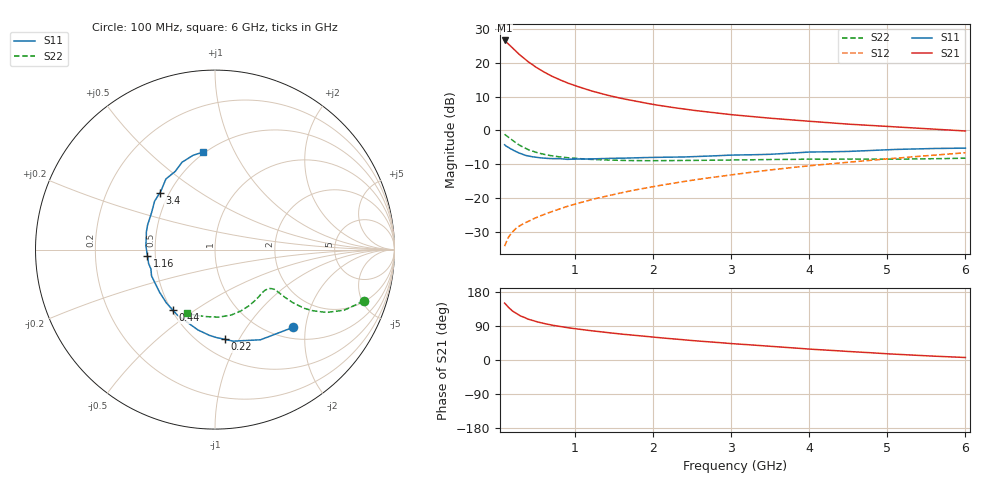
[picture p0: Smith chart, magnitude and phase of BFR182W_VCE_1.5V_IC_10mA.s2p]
! Infineon Technologies  Discrete & RF Semiconductors
! BFR182W
! VCE =  1.5 V,  IC =  10 mA
! Common Emitter S-Parameters:  Nov 2015
# GHz  S  MA  R  50
!  f  S11  S21  S12  S22
! GHz  MAG  ANG  MAG  ANG  MAG  ANG  MAG  ANG
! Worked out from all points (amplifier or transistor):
!   192 points, 100 MHz to 6 GHz, reference 50 ohm
!   highest |S21| = 26.7 dB at 100 MHz (marker M1)
!   |S21| within 3 dB of that: start of sweep to 236.2 MHz
!   unconditionally stable (mu >= 1): 893.3 MHz to 2.822 GHz
!   at 440 MHz: K = 0.74, MSG = 23.2 dB, |S12| = -26.5 dB
!   at 1.7 GHz: K = 1.07, MAG = 11.9 dB, |S12| = -18.0 dB
!   at 6 GHz: K = 0.81, MSG = 3.2 dB, |S12| = -6.6 dB
!   S11 on the Smith chart (normalised r, x): 100 MHz: 1.23, -1.71; 220 MHz: 0.65, -0.88; 440 MHz: 0.51, -0.41; 1.16 GHz: 0.45, -0.04; 3.4 GHz: 0.44, +0.35; 6 GHz: 0.49, +0.76
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0.1  0.614 -44.9  21.69 150.1  0.0192 70.6  0.8769 -19.1
0.15  0.5629 -63.2  19.19 138.5  0.0261 65.3  0.7928 -25.3
0.2  0.5201 -78.7  16.86 129.4  0.0311 61.8  0.7145 -29.3
0.22  0.5031 -83.7  16.02 126.8  0.0329 60.8  0.6875 -30.3
0.26  0.4786 -93.8  14.46 121.3  0.0363 59.1  0.6374 -32.2
0.3  0.4573 -102.1  13.09 116.6  0.0389 58.1  0.597 -33.3
0.4  0.4206 -120.0  10.52 107.8  0.0448 58.0  0.5215 -34.3
0.44  0.4108 -124.8  9.786 105.6  0.0472 58.4  0.5026 -34.3
0.5  0.4019 -132.4  8.724 101.5  0.0507 59.0  0.4743 -34.3
0.6  0.3895 -142.6  7.429 96.5  0.0566 60.2  0.4426 -34.1
0.7  0.3826 -150.5  6.439 92.2  0.0622 61.5  0.4217 -33.9
0.9  0.3729 -163.2  5.098 85.5  0.0746 63.7  0.3945 -33.9
1.1  0.3773 -172.4  4.262 80.2  0.087 65.3  0.3794 -34.9
1.16  0.3778 -174.8  4.043 78.6  0.0908 65.7  0.3752 -35.3
1.4  0.3858 177.0  3.376 72.7  0.1063 66.7  0.3653 -36.9
1.6  0.3879 170.6  2.987 68.3  0.1196 67.4  0.3599 -38.7
2.08  0.4001 158.8  2.357 58.9  0.1523 67.7  0.3569 -44.6
3.1  0.433 139.6  1.678 42.0  0.2272 65.2  0.3661 -60.0
3.4  0.4402 134.6  1.559 37.6  0.2516 64.0  0.3693 -65.3
4.1  0.4803 123.2  1.345 27.6  0.3072 60.2  0.3749 -78.2
5.1  0.5232 109.1  1.133 15.4  0.3873 53.9  0.3763 -98.2
6  0.5475 96.8  0.984 6.6  0.4675 47.5  0.3883 -113.9
